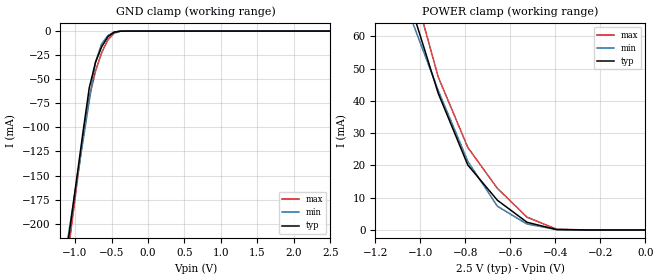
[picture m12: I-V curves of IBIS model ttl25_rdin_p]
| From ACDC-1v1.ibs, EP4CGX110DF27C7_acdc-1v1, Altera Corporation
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[Model]   ttl25_rdin_p
Model_type  Input
Polarity   Non-Inverting
Vinl   = 0.7
Vinh   = 1.7
| C_comp values for differential type row I/O
C_comp 5.0pF   5.0pF   5.0pF
[Temperature Range] 25   85   0
[Voltage Range]  2.5   2.325   2.625
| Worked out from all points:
|   GND clamp passes 1 mA (typ) near -0.45 V on its own axis
|   POWER clamp passes 1 mA (typ) near -0.45 V on its own axis
[GND Clamp]
| voltage   I (typ)   I (min)   I (max)
-2.5V     -1.003A    -896.6mA   -1.061A
-1.144V   -246.2mA   -237.3mA   -259.1mA
-1.059V   -198.9mA   -196.1mA   -209mA
-974.6mV  -151.6mA   -154.9mA   -158.9mA
-889.8mV  -104.3mA   -113.6mA   -108.8mA
-805.1mV  -58.87mA   -72.41mA   -68.82mA
-720.3mV  -32.71mA   -32.28mA   -41.9mA
-635.6mV  -16.39mA   -13.32mA   -22.54mA
-550.8mV  -6.002mA   -4.742mA   -9.332mA
-466.1mV  -1.154mA   -978.7uA   -2.246mA
-296.6mV  -4.689uA   -8.883uA   -9.496uA
2.5V      0A         0A         0A
[POWER Clamp]
| voltage   I (typ)   I (min)   I (max)
-2.5V     389.8mA    336.8mA    437.6mA
-1.053V   71.68mA    67.52mA    80.6mA
-921.1mV  42.33mA    43.22mA    47.4mA
-789.5mV  20.11mA    21.25mA    25.55mA
-657.9mV  9.193mA    7.337mA    12.86mA
-526.3mV  2.379mA    1.839mA    3.962mA
-394.7mV  116.6uA    134.2uA    243.9uA
0V        0A         0A         0A
